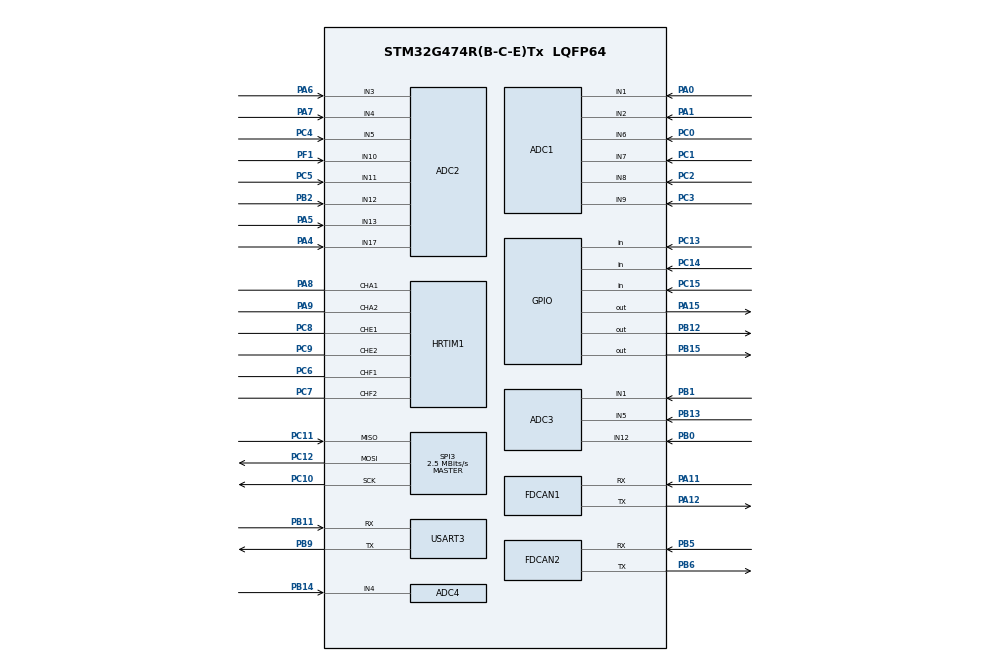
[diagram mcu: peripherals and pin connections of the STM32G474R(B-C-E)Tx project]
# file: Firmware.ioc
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ADC1.Channel-4\#ChannelRegularConversion=ADC_CHANNEL_1
ADC1.NbrOfConversion=1
ADC1.NbrOfConversionFlag=1
ADC1.OffsetNumber-4\#ChannelRegularConversion=ADC_OFFSET_NONE
ADC1.Rank-4\#ChannelRegularConversion=1
ADC1.SamplingTime-4\#ChannelRegularConversion=ADC_SAMPLETIME_6CYCLES_5
ADC1.SingleDiff-4\#ChannelRegularConversion=ADC_DIFFERENTIAL_ENDED
ADC1.master=1
ADC2.Channel-0\#ChannelRegularConversion=ADC_CHANNEL_3
ADC2.NbrOfConversionFlag=1
ADC2.OffsetNumber-0\#ChannelRegularConversion=ADC_OFFSET_NONE
ADC2.Rank-0\#ChannelRegularConversion=1
ADC2.SamplingTime-0\#ChannelRegularConversion=ADC_SAMPLETIME_2CYCLES_5
ADC2.SingleDiff-0\#ChannelRegularConversion=ADC_DIFFERENTIAL_ENDED
ADC3.Channel-4\#ChannelRegularConversion=ADC_CHANNEL_1
ADC3.NbrOfConversionFlag=1
ADC3.OffsetNumber-4\#ChannelRegularConversion=ADC_OFFSET_NONE
ADC3.Rank-4\#ChannelRegularConversion=1
ADC3.SamplingTime-4\#ChannelRegularConversion=ADC_SAMPLETIME_2CYCLES_5
ADC3.master=1
ADC4.Channel-0\#ChannelRegularConversion=ADC_CHANNEL_4
ADC4.NbrOfConversionFlag=1
ADC4.OffsetNumber-0\#ChannelRegularConversion=ADC_OFFSET_NONE
ADC4.Rank-0\#ChannelRegularConversion=1
ADC4.SamplingTime-0\#ChannelRegularConversion=ADC_SAMPLETIME_2CYCLES_5
FDCAN1.CalculateBaudRateNominal=4000000
FDCAN1.CalculateTimeBitNominal=250
FDCAN1.CalculateTimeQuantumNominal=50.0
FDCAN1.FrameFormat=FDCAN_FRAME_FD_BRS
FDCAN1.NominalPrescaler=8
FDCAN2.CalculateBaudRateNominal=1000000
FDCAN2.CalculateTimeBitNominal=1000
FDCAN2.CalculateTimeQuantumNominal=200.0
FDCAN2.NominalPrescaler=32
HRTIM1.CaptureUnit1-Output_TA1TA2=__NULL
HRTIM1.CompareUnit1-Output_TA1TA2=HRTIM_COMPAREUNIT_1
HRTIM1.CompareUnit1-Output_TE1TE2=HRTIM_COMPAREUNIT_1
HRTIM1.CompareUnit1-Output_TF1TF2=HRTIM_COMPAREUNIT_1
HRTIM1.CompareUnit2-Output_TA1TA2=HRTIM_COMPAREUNIT_2
HRTIM1.CompareUnit2-Output_TE1TE2=HRTIM_COMPAREUNIT_2
HRTIM1.CompareUnit2-Output_TF1TF2=HRTIM_COMPAREUNIT_2
HRTIM1.CompareUnit3-Output_TA1TA2=HRTIM_COMPAREUNIT_3
HRTIM1.CompareUnit3-Output_TE1TE2=HRTIM_COMPAREUNIT_3
HRTIM1.CompareUnit3-Output_TF1TF2=HRTIM_COMPAREUNIT_3
HRTIM1.CompareUnit4-Output_TA1TA2=HRTIM_COMPAREUNIT_4
HRTIM1.CompareUnit4-Output_TE1TE2=HRTIM_COMPAREUNIT_4
HRTIM1.CompareUnit4-Output_TF1TF2=HRTIM_COMPAREUNIT_4
HRTIM1.CompareValue1-Output_TA1TA2=0
HRTIM1.CompareValue2-Output_TA1TA2=64000
HRTIM1.CompareValue3-Output_TA1TA2=32000
HRTIM1.CompareValue4-Output_TA1TA2=32000
HRTIM1.FaultLevel1-Output_TA1TA2=HRTIM_OUTPUTFAULTLEVEL_INACTIVE
HRTIM1.FaultLevel1-Output_TE1TE2=HRTIM_OUTPUTFAULTLEVEL_INACTIVE
HRTIM1.FaultLevel1-Output_TF1TF2=HRTIM_OUTPUTFAULTLEVEL_INACTIVE
HRTIM1.FaultLevel2-Output_TA1TA2=HRTIM_OUTPUTFAULTLEVEL_INACTIVE
HRTIM1.FaultLevel2-Output_TE1TE2=HRTIM_OUTPUTFAULTLEVEL_INACTIVE
HRTIM1.FaultLevel2-Output_TF1TF2=HRTIM_OUTPUTFAULTLEVEL_INACTIVE
HRTIM1.NumberResetSource1-Output_TA1TA2=1
HRTIM1.NumberResetSource1-Output_TE1TE2=1
HRTIM1.NumberResetSource1-Output_TF1TF2=1
HRTIM1.NumberResetSource2_TA=1
HRTIM1.NumberResetSource2_TE=1
HRTIM1.NumberResetSource2_TF=1
HRTIM1.NumberSetSource1-Output_TA1TA2=1
HRTIM1.NumberSetSource1-Output_TE1TE2=1
HRTIM1.NumberSetSource1-Output_TF1TF2=1
HRTIM1.NumberSetSource2_TA=1
HRTIM1.NumberSetSource2_TE=1
HRTIM1.NumberSetSource2_TF=1
HRTIM1.Periode_MASTER=64000
HRTIM1.Periode_TA=64000
HRTIM1.Periode_TE=64000
HRTIM1.Periode_TF=64000
HRTIM1.Polarity2-Output_TE1TE2=HRTIM_OUTPUTPOLARITY_HIGH
HRTIM1.Polarity2-Output_TF1TF2=HRTIM_OUTPUTPOLARITY_HIGH
HRTIM1.PrescalerRatio_MASTER=HRTIM_PRESCALERRATIO_MUL8
HRTIM1.PrescalerRatio_TA=HRTIM_PRESCALERRATIO_MUL8
HRTIM1.PrescalerRatio_TE=HRTIM_PRESCALERRATIO_MUL8
HRTIM1.PrescalerRatio_TF=HRTIM_PRESCALERRATIO_MUL8
HRTIM1.ReSyncUpdate-Output_TA1TA2=HRTIM_TIMERESYNC_UPDATE_CONDITIONAL
HRTIM1.ReSyncUpdate-Output_TE1TE2=HRTIM_TIMERESYNC_UPDATE_CONDITIONAL
HRTIM1.ReSyncUpdate-Output_TF1TF2=HRTIM_TIMERESYNC_UPDATE_CONDITIONAL
HRTIM1.ResetOutput1_Source1-Output_TA1TA2=HRTIM_OUTPUTRESET_TIMCMP1
HRTIM1.ResetOutput1_Source1-Output_TE1TE2=HRTIM_OUTPUTRESET_TIMCMP1
HRTIM1.ResetOutput1_Source1-Output_TF1TF2=HRTIM_OUTPUTRESET_TIMCMP1
HRTIM1.ResetOutput2_Source1-Output_TA1TA2=HRTIM_OUTPUTRESET_TIMCMP3
HRTIM1.ResetOutput2_Source1-Output_TE1TE2=HRTIM_OUTPUTRESET_TIMCMP3
HRTIM1.ResetOutput2_Source1-Output_TF1TF2=HRTIM_OUTPUTRESET_TIMCMP3
HRTIM1.SetOutput1_Source1-Output_TA1TA2=HRTIM_OUTPUTSET_TIMCMP2
HRTIM1.SetOutput1_Source1-Output_TE1TE2=HRTIM_OUTPUTSET_TIMCMP2
HRTIM1.SetOutput1_Source1-Output_TF1TF2=HRTIM_OUTPUTSET_TIMCMP2
HRTIM1.SetOutput2_Source1-Output_TA1TA2=HRTIM_OUTPUTSET_TIMCMP4
HRTIM1.SetOutput2_Source1-Output_TE1TE2=HRTIM_OUTPUTSET_TIMCMP4
HRTIM1.SetOutput2_Source1-Output_TF1TF2=HRTIM_OUTPUTSET_TIMCMP4
HRTIM1.SyncOptions=HRTIM_SYNCOPTION_NONE
Mcu.Family=STM32G4
Mcu.Name=STM32G474R(B-C-E)Tx
Mcu.Package=LQFP64
NVIC.FDCAN1_IT0_IRQn=true\:0\:0\:false\:false\:true\:true\:true\:true
NVIC.FDCAN2_IT0_IRQn=true\:0\:0\:false\:false\:true\:true\:true\:true
NVIC.PriorityGroup=NVIC_PRIORITYGROUP_4
PA0.Mode=IN1-Differential
PA0.Signal=ADC1_IN1
PA1.Mode=IN1-Differential
PA1.Signal=ADC1_IN2
PA11.Mode=FDCAN_Activate
PA11.Signal=FDCAN1_RX
PA12.Mode=FDCAN_Activate
PA12.Signal=FDCAN1_TX
PA13.Mode=Trace_Asynchronous_SW
PA13.Signal=SYS_JTMS-SWDIO
PA14.Mode=Trace_Asynchronous_SW
PA14.Signal=SYS_JTCK-SWCLK
PA15.Signal=GPIO_Output
PA4.Mode=IN17-Single-Ended
PA4.Signal=ADC2_IN17
PA5.Mode=IN13-Single-Ended
PA5.Signal=ADC2_IN13
PA6.Mode=IN3-Differential
PA6.Signal=ADC2_IN3
PA7.Mode=IN3-Differential
PA7.Signal=ADC2_IN4
PA8.Mode=Output_TA1TA2
PA8.Signal=HRTIM1_CHA1
PA9.Mode=Output_TA1TA2
PA9.Signal=HRTIM1_CHA2
PB0.Mode=IN12-Single-Ended
PB0.Signal=ADC3_IN12
PB1.Mode=IN1-Single-Ended
PB1.Signal=ADC3_IN1
PB11.Mode=Asynchronous
PB11.Signal=USART3_RX
PB12.Signal=GPIO_Output
PB13.Mode=IN5-Single-Ended
PB13.Signal=ADC3_IN5
PB14.Mode=IN4-Single-Ended
PB14.Signal=ADC4_IN4
PB15.Signal=GPIO_Output
PB2.Mode=IN12-Single-Ended
PB2.Signal=ADC2_IN12
PB3.Mode=Trace_Asynchronous_SW
PB3.Signal=SYS_JTDO-SWO
PB5.Mode=FDCAN_Activate
PB5.Signal=FDCAN2_RX
PB6.Mode=FDCAN_Activate
PB6.Signal=FDCAN2_TX
PB9.Mode=Asynchronous
PB9.Signal=USART3_TX
PC0.Mode=IN6-Differential
PC0.Signal=ADC1_IN6
PC1.Mode=IN6-Differential
PC1.Signal=ADC1_IN7
PC10.Mode=Full_Duplex_Master
PC10.Signal=SPI3_SCK
PC11.Mode=Full_Duplex_Master
PC11.Signal=SPI3_MISO
PC12.Mode=Full_Duplex_Master
PC12.Signal=SPI3_MOSI
PC13.Signal=GPIO_Input
PC14-OSC32_IN.Signal=GPIO_Input
PC15-OSC32_OUT.Signal=GPIO_Input
PC2.Mode=IN8-Differential
PC2.Signal=ADC1_IN8
PC3.Mode=IN8-Differential
PC3.Signal=ADC1_IN9
PC4.Mode=IN5-Single-Ended
PC4.Signal=ADC2_IN5
PC5.Mode=IN11-Single-Ended
PC5.Signal=ADC2_IN11
PC6.Mode=Output_TF1TF2
PC6.Signal=HRTIM1_CHF1
PC7.Mode=Output_TF1TF2
PC7.Signal=HRTIM1_CHF2
PC8.Mode=Output_TE1TE2
PC8.Signal=HRTIM1_CHE1
PC9.Mode=Output_TE1TE2
PC9.Signal=HRTIM1_CHE2
PF1-OSC_OUT.Mode=IN10-Single-Ended
PF1-OSC_OUT.Signal=ADC2_IN10
ProjectManager.HeapSize=0x200
ProjectManager.StackSize=0x400
ProjectManager.TargetToolchain=CMake
RCC.ADC12Freq_Value=160000000
RCC.ADC345Freq_Value=160000000
RCC.AHBFreq_Value=160000000
RCC.APB1Freq_Value=160000000
RCC.APB1TimFreq_Value=160000000
RCC.APB2Freq_Value=160000000
RCC.APB2TimFreq_Value=160000000
RCC.CortexFreq_Value=160000000
RCC.EXTERNAL_CLOCK_VALUE=12288000
RCC.HCLKFreq_Value=160000000
RCC.HSE_VALUE=8000000
RCC.HSI48_VALUE=48000000
RCC.HSI_VALUE=16000000
RCC.LSE_VALUE=32768
RCC.PLLN=20
RCC.SYSCLKFreq_VALUE=160000000
RCC.SYSCLKSource=RCC_SYSCLKSOURCE_PLLCLK
RCC.USBFreq_Value=160000000
RCC.VCOOutputFreq_Value=320000000
SPI3.BaudRatePrescaler=SPI_BAUDRATEPRESCALER_64
SPI3.CLKPhase=SPI_PHASE_1EDGE
SPI3.CLKPolarity=SPI_POLARITY_HIGH
SPI3.CRCCalculation=SPI_CRCCALCULATION_DISABLE
SPI3.CalculateBaudRate=2.5 MBits/s
SPI3.DataSize=SPI_DATASIZE_16BIT
SPI3.Direction=SPI_DIRECTION_2LINES
SPI3.Mode=SPI_MODE_MASTER
SPI3.NSSPMode=SPI_NSS_PULSE_ENABLE
SPI3.VirtualType=VM_MASTER
TIM2.AutoReloadPreload=TIM_AUTORELOAD_PRELOAD_ENABLE
TIM2.Prescaler=159
USART3.VirtualMode-Asynchronous=VM_ASYNC
VP_HRTIM1_VS_hrtimMasterTimerNoOutput.Mode=MasterTimer
VP_SYS_VS_DBSignals.Mode=DisableDeadBatterySignals
VP_TIM2_VS_ClockSourceINT.Mode=Internal
VREF+.Mode=InternalMode
VREF+.Signal=VREFBUF_OUT
board=custom

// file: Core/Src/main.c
/* USER CODE BEGIN Header */
/**
  ******************************************************************************
  * @file           : main.c
  * @brief          : Main program body
  ******************************************************************************
  * @attention
  *
  * Copyright (c) 2024 STMicroelectronics.
  * All rights reserved.
  *
  * This software is licensed under terms that can be found in the LICENSE file
  * in the root directory of this software component.
  * If no LICENSE file comes with this software, it is provided AS-IS.
  *
  ******************************************************************************
  */
/* USER CODE END Header */
#include "main.h"
#include "adc.h"
#include "fdcan.h"
#include "hrtim.h"
#include "spi.h"
#include "tim.h"
#include "usart.h"
#include "gpio.h"

/* USER CODE BEGIN Includes */
#include <math.h>
#include <stdio.h>
#include "PID.h"
/* USER CODE END Includes */

/* USER CODE BEGIN PM */
#define deadTime 640
#define U_TIMER LL_HRTIM_TIMER_A
#define V_TIMER LL_HRTIM_TIMER_E
#define W_TIMER LL_HRTIM_TIMER_F
#define U_current phase_current[0]
#define V_current phase_current[1]
#define W_current phase_current[2]
// Motor settings
#define USE_HALL_SENSOR 0 // 0 for encoder + FOC, 1 for hall sensor lookup
#define N_POLES 10.0f // number of poles
#define N_STEP_ENCODER 8192.0f // Encoder number of steps
/* USER CODE END PM */

/* USER CODE BEGIN PV */
const uint8_t HallToStep[8] = {0, 2, 6, 1, 4, 3, 5, 0};
const int StepToPhase[7][3] = {
  {0,  0,  0},
  {1, -1,  0},
  {1,  0, -1},
  {0,  1, -1},
  {-1, 1,  0},
  {-1, 0,  1},
  {0, -1,  1}
};
uint16_t Encoder_os = 731; // encoder offset angle
/* USER CODE END PV */

void SystemClock_Config(void);
/* USER CODE BEGIN PFP */
void writePwm(uint32_t timer, int32_t duty);

int16_t Read_ADC1_Channel(uint32_t channel);

void print_CANBus(char* text);
/* USER CODE END PFP */

/* USER CODE BEGIN 0 */
FDCAN_RxHeaderTypeDef RxHeader;
uint8_t RxData[8];
FDCAN_TxHeaderTypeDef TxHeader;
uint8_t TxData[8];
char printBuffer[1024];
PID PID_I_d, PID_I_q;
/* USER CODE END 0 */

int main(void)
{

  /* USER CODE BEGIN 1 */
  PID_setParams(&PID_I_d, 0.0f, 10.0f, 0.0f);
  PID_setParams(&PID_I_q, 0.0f, 10.0f, 0.0f);
  /* USER CODE END 1 */

  /* MCU Configuration--------------------------------------------------------*/

  /* Reset of all peripherals, Initializes the Flash interface and the Systick. */
  HAL_Init();

  /* Configure the system clock */
  SystemClock_Config();

  /* Initialize all configured peripherals */
  MX_GPIO_Init();
  MX_ADC1_Init();
  MX_FDCAN1_Init();
  MX_FDCAN2_Init();
  MX_HRTIM1_Init();
  MX_ADC2_Init();
  MX_SPI3_Init();
  MX_TIM2_Init();
  MX_ADC3_Init();
  MX_USART3_UART_Init();
  MX_ADC4_Init();
  /* USER CODE BEGIN 2 */
  LL_GPIO_SetOutputPin(GPIOB, LL_GPIO_PIN_15); // enable gate drivers

  /*
    HRTIM pin & comparator config
    Output 1: HG, start on comp2, stop on comp1, center align to 0
    Output 2: LG, start on comp4, stop on comp3, center aligh to 0
    Comp ranges: 1&3 0~65527, 2&4 24~65527
  */
  // turn off all phases
  writePwm(U_TIMER, 0);
  writePwm(V_TIMER, 0);
  writePwm(W_TIMER, 0);
  // enable phase timers
  LL_HRTIM_EnableOutput(HRTIM1,
    LL_HRTIM_OUTPUT_TA1 | LL_HRTIM_OUTPUT_TA2 |
    LL_HRTIM_OUTPUT_TE1 | LL_HRTIM_OUTPUT_TE2 |
    LL_HRTIM_OUTPUT_TF1 | LL_HRTIM_OUTPUT_TF2);
  LL_HRTIM_TIM_CounterEnable(HRTIM1,
    LL_HRTIM_TIMER_MASTER | LL_HRTIM_TIMER_A | LL_HRTIM_TIMER_E | LL_HRTIM_TIMER_F);

  // enable ADC1 (phase current sense)
  if (LL_ADC_IsEnabled(ADC1) == 0){
    LL_ADC_StartCalibration(ADC1, LL_ADC_DIFFERENTIAL_ENDED);
    while (LL_ADC_IsCalibrationOnGoing(ADC1) != 0);
  }
  LL_ADC_Enable(ADC1);
  while (!LL_ADC_IsActiveFlag_ADRDY(ADC1));
  int32_t U_current_os = 0;
  int32_t V_current_os = 0;
  int32_t W_current_os = 0;

  // enable microsecond counter
  LL_TIM_EnableCounter(TIM2);

  if (!USE_HALL_SENSOR) {
    // RM44SI encoder setup (Emrax motor)
    LL_GPIO_ResetOutputPin(GPIOA, LL_GPIO_PIN_15); // data port input mode
  }

  // CANBus setup
  HAL_FDCAN_Start(&hfdcan2);

  uint32_t micros = TIM2->CNT;
  uint32_t lastMicros = 0;
  float dt = (micros - lastMicros) * 1e-6f;
  int32_t dutyCycle = 0;
  uint8_t HallSig;
  float CCTRL_p, CCTRL_i = 0;
  float phase_current[3];
  float AC_current;
  float Target_current = 2.0f;
  uint32_t count = 0;
  /* USER CODE END 2 */

  /* Infinite loop */
  /* USER CODE BEGIN WHILE */
  while (1)
  {
    micros = TIM2->CNT;
    dt = (micros - lastMicros) * 1e-6f;

    // read phase currents from ADC1
    U_current = (float)(Read_ADC1_Channel(LL_ADC_CHANNEL_1) - U_current_os) * 0.0625f;
    V_current = (float)(Read_ADC1_Channel(LL_ADC_CHANNEL_8) - V_current_os) * 0.0625f;
    W_current = (float)(Read_ADC1_Channel(LL_ADC_CHANNEL_6) - W_current_os) * 0.0625f;
    //W_current = - U_current - V_current;

    // drive motor with hall sensor
    if (USE_HALL_SENSOR) {
      AC_current = sqrtf(((U_current * U_current) + (V_current * V_current) + (W_current * W_current)));
      CCTRL_p = Target_current - AC_current;
      CCTRL_i += CCTRL_p * (micros - lastMicros) * dt;
      CCTRL_i = fmaxf(fminf(CCTRL_i, 1), 0);
      dutyCycle = (fmaxf(fminf(CCTRL_p*0.01f + CCTRL_i, 1), 0)) * 32000.0f;
      HallSig = GPIOC->IDR >> 13;
      HallSig = ((HallSig & 0b001) << 2) + (HallSig & 0b010) + ((HallSig & 0b100) >> 2);
      writePwm(U_TIMER, StepToPhase[HallToStep[HallSig]][0] * dutyCycle);
      writePwm(V_TIMER, StepToPhase[HallToStep[HallSig]][1] * dutyCycle);
      writePwm(W_TIMER, StepToPhase[HallToStep[HallSig]][2] * dutyCycle);
    }
    // drive motor with encoder and FOC
    else {
      // read physical rotor position
      uint16_t phys_position;
      float elec_position;
      uint8_t TxBuffer[2];
      uint8_t RxBuffer[2];
      HAL_SPI_TransmitReceive(&hspi3, (uint8_t *)TxBuffer, (uint8_t *)RxBuffer, 1, 5000);
      memcpy(&phys_position, RxBuffer, 2);
      phys_position = (phys_position & 0x7FFF) >> 2;
      phys_position += Encoder_os;
      elec_position = fmodf(phys_position / N_STEP_ENCODER * N_POLES, 1.0f) * M_PI * 2.0f; // radians
      float sin_elec_position = sinf(elec_position);
      float cos_elec_position = cosf(elec_position);

      // FOC
      // Clarke transform
      float I_a = U_current * 0.66666667f - V_current * 0.33333333f - W_current * 0.33333333f;
      float I_b = 0.5773502691896257f * (V_current - W_current);
      // Park transform
      float I_d = I_a * cos_elec_position + I_b * sin_elec_position;
      float I_q = I_b * cos_elec_position - I_a * sin_elec_position;
      AC_current = I_q;
      // PI controllers on Q and D
      float cmd_d = 0;//PID_update(&PID_I_d, I_d, 0.0f, dt) * 0.1f;
      float cmd_q = PID_update(&PID_I_q, I_q, Target_current, dt);
      // Inverse Park transform
      float cmd_a = cmd_d * cos_elec_position - cmd_q * sin_elec_position;
      float cmd_b = cmd_q * cos_elec_position + cmd_d * sin_elec_position;
      // Inverse Clarke transform
      int16_t duty_u = cmd_a * -32000;
      int16_t duty_v = (cmd_a * -0.5f + 0.8660254037844386f * cmd_b) * -32000;
      int16_t duty_w = (cmd_a * -0.5f - 0.8660254037844386f * cmd_b) * -32000;
      // Update duty cycle
      writePwm(U_TIMER, duty_u);
      writePwm(V_TIMER, duty_v);
      writePwm(W_TIMER, duty_w);
      // debug print
      // sprintf(printBuffer, "phys_pos:%04u, elec_pos:%5.03f, I_q:%+5.03f, I_d:%+5.03f, cmd_d:%+5.03f, cmd_q:%+5.03f, U:%+05d, V:%+05d, W:%+05d, dt:%.05f\n",
      //   phys_position, elec_position, I_q, I_d, cmd_d, cmd_q, duty_u, duty_v, duty_w, dt);
      // sprintf(printBuffer, "I_q:%+5.03f, I_d:%+5.03f, cmd_d:%+5.03f, cmd_q:%+5.03f, dt:%.05f\n",
      //   I_q, I_d, cmd_d, cmd_q, dt);
      // print_CANBus(printBuffer);
    }

    // calibrate current sensor offset
    if (count == 0) {
      LL_GPIO_SetOutputPin(GPIOB, LL_GPIO_PIN_12);
      writePwm(U_TIMER, 0);
      writePwm(V_TIMER, 0);
      writePwm(W_TIMER, 0);
      LL_mDelay(2);
      U_current_os = 0;
      V_current_os = 0;
      W_current_os = 0;
      for (uint16_t i = 0; i < 1024; i++) {
        U_current_os += Read_ADC1_Channel(LL_ADC_CHANNEL_1);
        V_current_os += Read_ADC1_Channel(LL_ADC_CHANNEL_8);
        W_current_os += Read_ADC1_Channel(LL_ADC_CHANNEL_6);
      }
      U_current_os = U_current_os >> 10;
      V_current_os = V_current_os >> 10;
      W_current_os = W_current_os >> 10;
      LL_GPIO_ResetOutputPin(GPIOB, LL_GPIO_PIN_12);
    }
    count++;
    if (count > 500000) count = 0;
    lastMicros = micros;
    /* USER CODE END WHILE */

  }
}

void SystemClock_Config(void)
{
  LL_FLASH_SetLatency(LL_FLASH_LATENCY_4);
  while(LL_FLASH_GetLatency() != LL_FLASH_LATENCY_4)
  {
  }
  LL_PWR_EnableRange1BoostMode();
  LL_RCC_HSI_Enable();
   /* Wait till HSI is ready */
  while(LL_RCC_HSI_IsReady() != 1)
  {
  }

  LL_RCC_HSI_SetCalibTrimming(64);
  LL_RCC_PLL_ConfigDomain_SYS(LL_RCC_PLLSOURCE_HSI, LL_RCC_PLLM_DIV_1, 20, LL_RCC_PLLR_DIV_2);
  LL_RCC_PLL_EnableDomain_SYS();
  LL_RCC_PLL_Enable();
   /* Wait till PLL is ready */
  while(LL_RCC_PLL_IsReady() != 1)
  {
  }

  LL_RCC_SetSysClkSource(LL_RCC_SYS_CLKSOURCE_PLL);
  LL_RCC_SetAHBPrescaler(LL_RCC_SYSCLK_DIV_2);
   /* Wait till System clock is ready */
  while(LL_RCC_GetSysClkSource() != LL_RCC_SYS_CLKSOURCE_STATUS_PLL)
  {
  }

  /* Insure 1us transition state at intermediate medium speed clock*/
  for (__IO uint32_t i = (170 >> 1); i !=0; i--);

  /* Set AHB prescaler*/
  LL_RCC_SetAHBPrescaler(LL_RCC_SYSCLK_DIV_1);
  LL_RCC_SetAPB1Prescaler(LL_RCC_APB1_DIV_1);
  LL_RCC_SetAPB2Prescaler(LL_RCC_APB2_DIV_1);
  LL_SetSystemCoreClock(160000000);

   /* Update the time base */
  if (HAL_InitTick (TICK_INT_PRIORITY) != HAL_OK)
  {
    Error_Handler();
  }
}

/* USER CODE BEGIN 4 */
void writePwm(uint32_t timer, int32_t duty) {
  int16_t duty_abs = (duty < 0) ? -duty : duty;
  if (duty_abs < deadTime) {
    duty_abs = 0;
  }
  else if (duty_abs > 32000 - deadTime) {
    duty_abs = 32000;
  }
  if (duty >= 0) {
    LL_HRTIM_TIM_SetCompare2(HRTIM1, timer, 64001 - duty_abs);
    LL_HRTIM_TIM_SetCompare1(HRTIM1, timer, duty_abs);
    LL_HRTIM_TIM_SetCompare4(HRTIM1, timer, 64001);
    LL_HRTIM_TIM_SetCompare3(HRTIM1, timer, 0);
  }
  else {
    LL_HRTIM_TIM_SetCompare2(HRTIM1, timer, 64001);
    LL_HRTIM_TIM_SetCompare1(HRTIM1, timer, 0);
    LL_HRTIM_TIM_SetCompare4(HRTIM1, timer, 64001 - duty_abs);
    LL_HRTIM_TIM_SetCompare3(HRTIM1, timer, duty_abs);
  }
}

int16_t Read_ADC1_Channel(uint32_t channel)
{
  // Set the ADC channel
  LL_ADC_REG_SetSequencerRanks(ADC1, LL_ADC_REG_RANK_1, channel);

  // Start ADC conversion
  LL_ADC_REG_StartConversion(ADC1);

  // Wait until conversion is complete
  while (LL_ADC_IsActiveFlag_EOC(ADC1) == 0);

  // Get ADC conversion result
  int16_t adc_value = LL_ADC_REG_ReadConversionData12(ADC1);

  // Clear the EOC flag
  LL_ADC_ClearFlag_EOC(ADC1);

  return adc_value;
}

void print_CANBus(char* text) {
  TxHeader.Identifier = 0x3FF;
  TxHeader.IdType = FDCAN_STANDARD_ID;
  TxHeader.TxFrameType = FDCAN_DATA_FRAME;
  TxHeader.DataLength = FDCAN_DLC_BYTES_8;
  TxHeader.ErrorStateIndicator = FDCAN_ESI_ACTIVE;
  TxHeader.BitRateSwitch = FDCAN_BRS_OFF;
  TxHeader.FDFormat = FDCAN_CLASSIC_CAN;
  TxHeader.TxEventFifoControl = FDCAN_NO_TX_EVENTS;
  TxHeader.MessageMarker = 0;
  uint32_t i = 0;
  while (text[i] != '\0') {
    TxData[i & 0b111U] = text[i];
    if ((i & 0b111U) == 0b111U) {
      HAL_FDCAN_AddMessageToTxFifoQ(&hfdcan2, &TxHeader, TxData);
      while (HAL_FDCAN_GetTxFifoFreeLevel(&hfdcan2) == 0);
    }
    i++;
  }
  if (i & 0b111U) {
    for (uint8_t j = i & 0b111U; j < 8; j++) {
      TxData[j] = 0;
    }
    HAL_FDCAN_AddMessageToTxFifoQ(&hfdcan2, &TxHeader, TxData);
  }
}
/* USER CODE END 4 */

void Error_Handler(void)
{
  __disable_irq();
  while (1)
  {
  }
}
